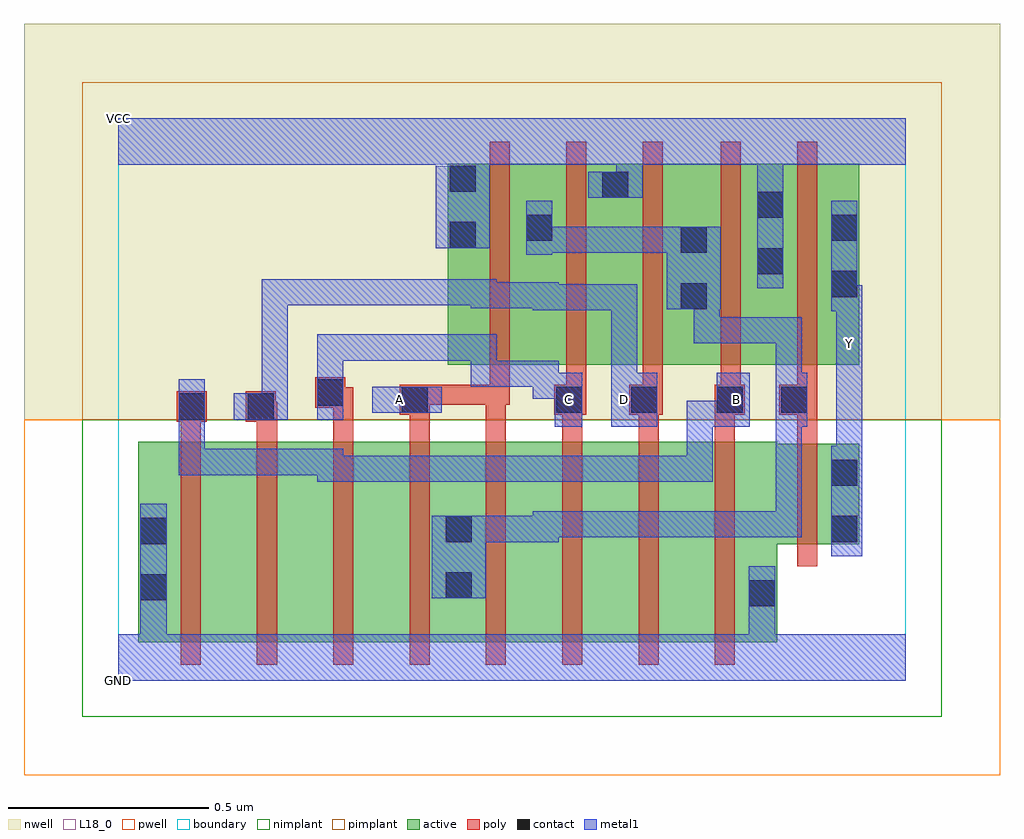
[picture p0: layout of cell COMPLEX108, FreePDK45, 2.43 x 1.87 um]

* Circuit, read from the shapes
.subckt COMPLEX108 A B C D GND VCC Y
M1 n1 B GND VSUBS nfet w=0.5u l=0.05u
M2 n2 D n1 VSUBS nfet w=0.5u l=0.05u
M3 n3 C n2 VSUBS nfet w=0.5u l=0.05u
M4 n4 A n3 VSUBS nfet w=0.5u l=0.05u
M5 n5 A n4 VSUBS nfet w=0.5u l=0.05u
M6 n6 C n5 VSUBS nfet w=0.5u l=0.05u
M7 n7 D n6 VSUBS nfet w=0.5u l=0.05u
M8 GND B n7 VSUBS nfet w=0.5u l=0.05u
M9 Y n4 GND VSUBS nfet w=0.25u l=0.05u
M10 n4 A VCC n8 pfet w=0.5u l=0.05u
M11 VCC C n4 n8 pfet w=0.5u l=0.05u
M12 n4 D VCC n8 pfet w=0.5u l=0.05u
M13 VCC B n4 n8 pfet w=0.5u l=0.05u
M14 Y n4 VCC n8 pfet w=0.5u l=0.05u
.ends

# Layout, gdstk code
import gdstk
lib = gdstk.Library(unit=1e-6, precision=1e-09)
def R(c, l, rs):  # rectangles x0, y0, x1, y1
    for r in rs: c.add(gdstk.rectangle(r[:2], r[2:], *l))
def A(c, l, x, y, w, h, nx, ny, dx, dy):  # array of equal rectangles
    R(c, l, [(x+i*dx, y+j*dy, x+i*dx+w, y+j*dy+h) for i in range(nx) for j in range(ny)])
active = (1, 0)
pwell = (2, 0)
nwell = (3, 0)
nimplant = (4, 0)
pimplant = (5, 0)
poly = (9, 0)
contact = (10, 0)
metal1 = (11, 0)
L18_0 = (18, 0)
boundary = (235, 0)

complex108 = lib.new_cell('COMPLEX108')
R(complex108, active, [(0.05,0.095,0.275,0.595), (0.05,0.095,0.125,0.595), (0.275,0.095,0.465,0.595), (0.465,0.095,0.655,0.595), (0.655,0.095,0.885,0.595), (0.81,0.095,1.035,0.595), (0.81,0.095,0.885,0.592), (1.035,0.095,1.225,0.595), (1.225,0.095,1.415,0.595), (1.415,0.095,1.64,0.595), (1.565,0.18,1.64,0.497), (1.565,0.34,1.845,0.59), (1.77,0.34,1.845,0.59), (0.82,0.787,1.085,1.287), (1.01,0.787,1.275,1.287), (1.2,0.787,1.47,1.287), (1.395,0.787,1.66,1.287), (1.585,0.787,1.845,1.287), (1.77,0.787,1.845,1.2), (0.82,0.807,0.895,1.287), (1.01,0.807,1.085,1.2), (1.2,0.807,1.275,1.287), (1.395,0.807,1.47,1.2), (1.585,0.807,1.66,1.267)])
R(complex108, pwell, [(-0.235,-0.235,2.195,0.65)])
R(complex108, nwell, [(-0.235,0.65,2.195,1.635)])
R(complex108, nimplant, [(-0.09,-0.09,2.05,0.65)])
R(complex108, pimplant, [(-0.09,0.65,2.05,1.49)])
A(complex108, poly, 0.155, 0.04, 0.05, 0.61, 8, 1, 0.19, 0)
A(complex108, poly, 1.105, 0.6, 0.05, 0.112, 3, 1, 0.19, 0)
A(complex108, poly, 0.925, 0.687, 0.05, 0.095, 3, 1, 0.19, 0)
A(complex108, poly, 0.925, 0.732, 0.05, 0.61, 3, 1, 0.19, 0)
R(complex108, poly, [(1.69,0.285,1.74,0.645), (1.69,0.595,1.74,0.712), (0.155,0.6,0.205,0.695), (0.345,0.6,0.395,0.695), (0.535,0.6,0.585,0.73), (0.725,0.6,0.775,0.712), (0.915,0.6,0.965,0.737), (0.145,0.645,0.22,0.72), (0.317,0.645,0.392,0.72), (0.342,0.645,0.392,0.695), (0.342,0.645,0.395,0.695), (0.7,0.662,0.775,0.737), (1.085,0.662,1.165,0.737), (1.105,0.662,1.155,0.712), (1.105,0.662,1.155,0.712), (1.272,0.662,1.355,0.737), (1.295,0.662,1.345,0.712), (1.295,0.662,1.345,0.712), (1.485,0.662,1.56,0.737), (1.645,0.662,1.74,0.737), (0.49,0.68,0.565,0.755), (0.515,0.68,0.565,0.73), (0.515,0.68,0.585,0.73), (0.725,0.687,0.965,0.737), (0.915,0.687,0.965,0.737), (0.915,0.687,0.965,0.737), (0.915,0.687,0.965,0.737), (0.915,0.687,0.965,0.737), (0.915,0.687,0.975,0.737), (1.5,0.687,1.55,0.782), (1.5,0.687,1.55,0.737), (1.5,0.687,1.55,0.737), (1.69,0.687,1.74,0.782), (1.69,0.687,1.74,0.737), (1.69,0.687,1.74,0.737), (1.5,0.732,1.55,1.342), (1.69,0.732,1.74,1.342)])
R(complex108, contact, [(1.57,0.185,1.635,0.25), (0.055,0.2,0.12,0.265), (0.815,0.205,0.88,0.27), (0.055,0.34,0.12,0.405), (0.815,0.345,0.88,0.41), (1.775,0.345,1.84,0.41), (1.775,0.485,1.84,0.55), (0.15,0.65,0.215,0.715), (0.322,0.65,0.387,0.715), (0.705,0.667,0.77,0.732), (1.09,0.667,1.155,0.732), (1.277,0.667,1.342,0.732), (1.49,0.667,1.555,0.732), (1.65,0.667,1.715,0.732), (0.495,0.685,0.56,0.75), (1.4,0.925,1.465,0.99), (1.775,0.955,1.84,1.02), (1.59,1.012,1.655,1.077), (1.4,1.065,1.465,1.13), (0.825,1.077,0.89,1.142), (1.015,1.095,1.08,1.16), (1.775,1.095,1.84,1.16), (1.59,1.152,1.655,1.217), (1.205,1.202,1.27,1.267), (0.825,1.217,0.89,1.282)])
R(complex108, metal1, [(0,0,1.96,0.115), (0.055,0.05,0.12,0.23), (1.57,0.05,1.635,0.215), (1.57,0.15,1.635,0.285), (0.055,0.165,0.12,0.44), (0.78,0.205,0.915,0.41), (1.775,0.31,1.852,0.585), (0.85,0.345,0.942,0.41), (0.877,0.345,0.942,0.41), (0.877,0.345,1.097,0.41), (1.032,0.345,1.097,0.41), (1.032,0.345,1.097,0.422), (1.032,0.357,1.097,0.422), (1.032,0.357,1.097,0.422), (1.032,0.357,1.097,0.422), (1.032,0.357,1.292,0.422), (1.227,0.357,1.292,0.422), (1.227,0.357,1.292,0.422), (1.227,0.357,1.292,0.422), (1.227,0.357,1.43,0.422), (1.365,0.357,1.43,0.422), (1.365,0.357,1.577,0.422), (1.512,0.357,1.577,0.422), (1.512,0.357,1.702,0.422), (1.637,0.357,1.702,0.422), (1.637,0.357,1.702,0.767), (0.495,0.495,0.56,0.56), (0.495,0.495,0.697,0.56), (0.495,0.495,0.56,0.577), (0.632,0.495,0.697,0.56), (0.632,0.495,0.942,0.56), (0.877,0.495,0.942,0.56), (0.877,0.495,0.942,0.56), (0.877,0.495,0.942,0.56), (0.877,0.495,0.942,0.56), (0.877,0.495,0.942,0.56), (0.877,0.495,1.097,0.56), (1.032,0.495,1.097,0.56), (1.032,0.495,1.097,0.56), (1.032,0.495,1.097,0.56), (1.032,0.495,1.292,0.56), (1.227,0.495,1.292,0.56), (1.227,0.495,1.292,0.56), (1.227,0.495,1.292,0.56), (1.227,0.495,1.48,0.56), (1.415,0.495,1.48,0.697), (0.15,0.512,0.352,0.577), (0.15,0.512,0.215,0.68), (0.287,0.512,0.352,0.577), (0.287,0.512,0.352,0.577), (0.287,0.512,0.352,0.577), (0.287,0.512,0.56,0.577), (0.495,0.512,0.56,0.577), (0.495,0.512,0.56,0.577), (0.495,0.512,0.56,0.577), (1.787,0.52,1.852,0.837), (0.15,0.615,0.215,0.68), (0.15,0.615,0.215,0.75), (1.087,0.632,1.155,0.767), (1.227,0.632,1.342,0.767), (1.415,0.632,1.555,0.697), (1.49,0.632,1.572,0.767), (1.65,0.632,1.715,0.767), (0.287,0.65,0.422,0.715), (0.357,0.65,0.422,0.715), (0.357,0.65,0.422,0.715), (0.357,0.65,0.422,1), (0.495,0.65,0.56,0.785), (0.632,0.667,0.805,0.732), (1.032,0.702,1.152,0.767), (1.032,0.702,1.097,0.797), (1.227,0.702,1.292,0.767), (1.227,0.702,1.292,0.767), (1.227,0.702,1.292,0.987), (1.637,0.702,1.702,0.767), (1.637,0.702,1.715,0.767), (1.637,0.702,1.702,0.905), (0.495,0.72,0.56,0.785), (0.495,0.72,0.56,0.862), (0.877,0.732,0.942,0.797), (0.877,0.732,0.942,0.797), (0.877,0.732,1.097,0.797), (0.877,0.732,0.942,0.862), (1.787,0.772,1.852,0.907), (0.495,0.797,0.805,0.862), (0.74,0.797,0.805,0.862), (0.74,0.797,0.942,0.862), (1.432,0.84,1.497,0.905), (1.432,0.84,1.497,0.905), (1.432,0.84,1.497,0.905), (1.432,0.84,1.702,0.905), (1.432,0.84,1.497,0.99), (1.637,0.84,1.702,0.905), (1.787,0.842,1.852,0.985), (1.775,0.92,1.84,0.985), (1.775,0.92,1.84,1.195), (1.775,0.92,1.852,0.985), (1.032,0.922,1.097,0.987), (1.032,0.922,1.097,0.987), (1.032,0.922,1.292,0.987), (1.032,0.922,1.097,0.992), (1.227,0.922,1.292,0.987), (1.365,0.925,1.5,1.13), (0.877,0.927,1.097,0.992), (0.877,0.927,0.942,1), (0.357,0.935,0.422,1), (0.357,0.935,0.56,1), (0.495,0.935,0.56,1), (0.495,0.935,0.56,1), (0.495,0.935,0.56,1), (0.495,0.935,0.805,1), (0.74,0.935,0.805,1), (0.74,0.935,0.942,1), (0.877,0.935,0.942,1), (0.877,0.935,0.942,1), (1.59,0.977,1.655,1.252), (1.015,1.06,1.08,1.195), (1.015,1.065,1.08,1.13), (1.015,1.065,1.08,1.13), (1.015,1.065,1.292,1.13), (1.227,1.065,1.292,1.13), (1.227,1.065,1.292,1.13), (1.227,1.065,1.292,1.13), (1.227,1.065,1.43,1.13), (1.365,1.065,1.43,1.13), (1.365,1.065,1.43,1.13), (0.79,1.077,0.925,1.282), (1.59,1.187,1.655,1.35), (1.17,1.202,1.305,1.267), (1.24,1.202,1.305,1.35), (0.86,1.217,0.925,1.35), (0,1.285,1.96,1.4)])
R(complex108, L18_0, [(0,0,1.96,0.115), (0.055,0.05,0.12,0.23), (1.57,0.05,1.635,0.215), (1.57,0.15,1.635,0.285), (0.055,0.165,0.12,0.44), (1.775,0.31,1.852,0.585), (0.495,0.495,0.56,0.56), (0.495,0.495,0.697,0.56), (0.495,0.495,0.56,0.577), (0.632,0.495,0.697,0.56), (0.632,0.495,0.942,0.56), (0.877,0.495,0.942,0.56), (0.877,0.495,0.942,0.56), (0.877,0.495,0.942,0.56), (0.877,0.495,0.942,0.56), (0.877,0.495,0.942,0.56), (0.877,0.495,1.097,0.56), (1.032,0.495,1.097,0.56), (1.032,0.495,1.097,0.56), (1.032,0.495,1.097,0.56), (1.032,0.495,1.292,0.56), (1.227,0.495,1.292,0.56), (1.227,0.495,1.292,0.56), (1.227,0.495,1.292,0.56), (1.227,0.495,1.48,0.56), (1.415,0.495,1.48,0.697), (0.15,0.512,0.215,0.68), (0.15,0.512,0.352,0.577), (0.287,0.512,0.352,0.577), (0.287,0.512,0.352,0.577), (0.287,0.512,0.352,0.577), (0.287,0.512,0.56,0.577), (0.495,0.512,0.56,0.577), (0.495,0.512,0.56,0.577), (0.495,0.512,0.56,0.577), (1.787,0.52,1.852,0.837), (0.15,0.615,0.215,0.75), (0.15,0.615,0.215,0.68), (1.087,0.632,1.155,0.767), (1.227,0.632,1.342,0.767), (1.415,0.632,1.555,0.697), (1.49,0.632,1.572,0.767), (0.287,0.65,0.422,0.715), (0.357,0.65,0.422,0.715), (0.357,0.65,0.422,0.715), (0.357,0.65,0.422,1), (0.495,0.65,0.56,0.785), (0.632,0.667,0.805,0.732), (0.667,0.667,0.732,0.732), (1.087,0.667,1.152,0.732), (1.227,0.667,1.292,0.732), (1.507,0.667,1.572,0.732), (1.032,0.702,1.097,0.797), (1.032,0.702,1.152,0.767), (1.227,0.702,1.292,0.767), (1.227,0.702,1.292,0.767), (1.227,0.702,1.292,0.987), (0.495,0.72,0.56,0.785), (0.495,0.72,0.56,0.862), (0.877,0.732,0.942,0.797), (0.877,0.732,0.942,0.797), (0.877,0.732,0.942,0.862), (0.877,0.732,1.097,0.797), (1.787,0.772,1.852,0.907), (0.495,0.797,0.805,0.862), (0.74,0.797,0.805,0.862), (0.74,0.797,0.942,0.862), (1.787,0.807,1.852,0.872), (1.787,0.842,1.852,0.985), (1.775,0.92,1.84,1.195), (1.775,0.92,1.84,0.985), (1.775,0.92,1.852,0.985), (1.032,0.922,1.097,0.987), (1.032,0.922,1.097,0.987), (1.032,0.922,1.097,0.992), (1.032,0.922,1.292,0.987), (1.227,0.922,1.292,0.987), (0.877,0.927,0.942,1), (0.877,0.927,1.097,0.992), (0.357,0.935,0.422,1), (0.357,0.935,0.56,1), (0.495,0.935,0.56,1), (0.495,0.935,0.56,1), (0.495,0.935,0.56,1), (0.495,0.935,0.805,1), (0.74,0.935,0.805,1), (0.74,0.935,0.942,1), (0.877,0.935,0.942,1), (0.877,0.935,0.942,1), (1.59,0.977,1.655,1.252), (0.79,1.077,0.925,1.282), (1.59,1.187,1.655,1.35), (1.17,1.202,1.305,1.267), (1.24,1.202,1.305,1.35), (0.86,1.217,0.925,1.35), (0,1.285,1.96,1.4)])
R(complex108, boundary, [(0,0,1.96,1.4)])
complex108.add(gdstk.Label('A', (0.7,0.7), layer=11, texttype=0))
complex108.add(gdstk.Label('B', (1.54,0.7), layer=11, texttype=0))
complex108.add(gdstk.Label('C', (1.12,0.7), layer=11, texttype=0))
complex108.add(gdstk.Label('D', (1.26,0.7), layer=11, texttype=0))
complex108.add(gdstk.Label('Y', (1.82,0.84), layer=11, texttype=0))
complex108.add(gdstk.Label('VCC', (0,1.4), layer=11, texttype=0))
complex108.add(gdstk.Label('GND', (0,0), layer=11, texttype=0))

lib.write_gds('COMPLEX108.gds')
